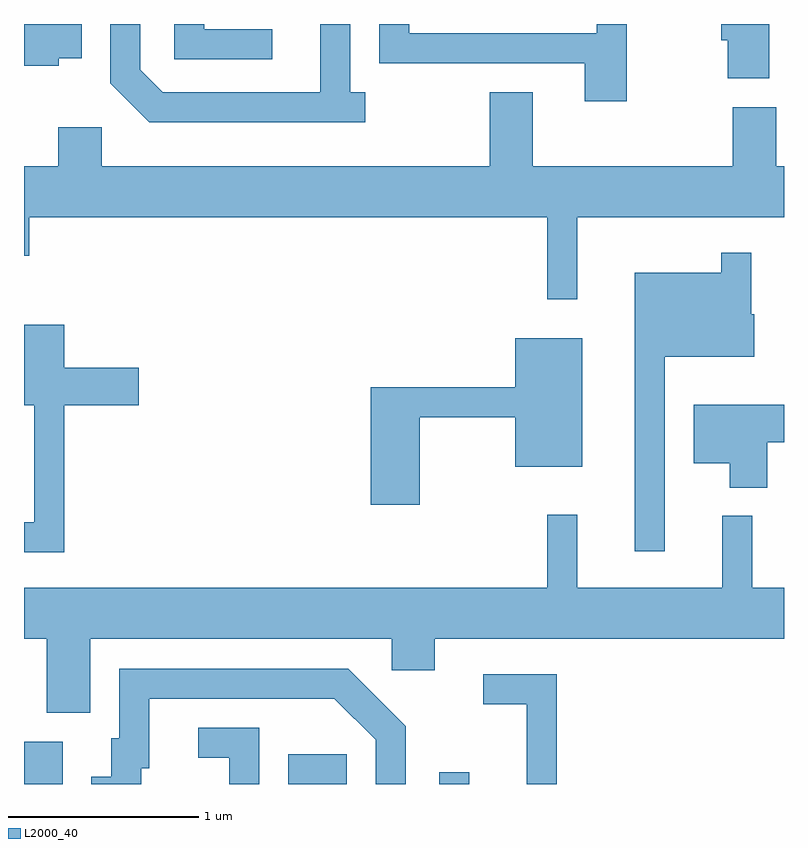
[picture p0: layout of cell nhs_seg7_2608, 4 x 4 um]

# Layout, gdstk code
import gdstk
lib = gdstk.Library(unit=1e-6, precision=1e-09)
def R(c, l, rs):  # rectangles x0, y0, x1, y1
    for r in rs: c.add(gdstk.rectangle(r[:2], r[2:], *l))
def P(c, l, *ps):  # polygons
    for p in ps: c.add(gdstk.Polygon(p, *l))
L2000_40 = (2000, 40)

nhs_seg7_2608 = lib.new_cell('nhs_seg7_2608')
R(nhs_seg7_2608, L2000_40, [(265.611,1680.252,265.814,1680.474), (267.001,1680.252,267.309,1680.409), (267.796,1680.252,267.954,1680.313)])
P(nhs_seg7_2608, L2000_40, [(265.794,1684.071),(265.914,1684.071),(265.914,1684.252),(265.611,1684.252),(265.611,1684.031),(265.794,1684.031)],
  [(269.534,1684.252),(269.281,1684.252),(269.281,1684.166),(269.316,1684.166),(269.316,1683.966),(269.534,1683.966)],
  [(268.784,1684.252),(268.626,1684.252),(268.626,1684.204),(267.639,1684.204),(267.639,1684.252),(267.481,1684.252),(267.481,1684.046),(268.561,1684.046),(268.561,1683.846),(268.784,1683.846)],
  [(267.408,1683.894),(267.329,1683.894),(267.329,1684.252),(267.171,1684.252),(267.171,1683.894),(266.342,1683.894),(266.224,1684.012),(266.224,1684.252),(266.066,1684.252),(266.066,1683.939),(266.269,1683.736),(267.408,1683.736)],
  [(266.918,1684.224),(266.559,1684.224),(266.559,1684.252),(266.401,1684.252),(266.401,1684.066),(266.918,1684.066)],
  [(268.524,1683.236),(269.611,1683.236),(269.611,1683.504),(269.569,1683.504),(269.569,1683.814),(269.341,1683.814),(269.341,1683.504),(268.289,1683.504),(268.289,1683.894),(268.061,1683.894),(268.061,1683.504),(266.019,1683.504),(266.019,1683.709),(265.791,1683.709),(265.791,1683.504),(265.611,1683.504),(265.611,1683.031),(265.639,1683.031),(265.639,1683.236),(268.366,1683.236),(268.366,1682.803),(268.524,1682.803)],
  [(268.984,1682.501),(269.454,1682.501),(269.454,1682.725),(269.439,1682.725),(269.439,1683.048),(269.281,1683.048),(269.281,1682.944),(268.826,1682.944),(268.826,1681.478),(268.984,1681.478)],
  [(265.824,1682.246),(266.214,1682.246),(266.214,1682.444),(265.824,1682.444),(265.824,1682.669),(265.611,1682.669),(265.611,1682.246),(265.666,1682.246),(265.666,1681.629),(265.611,1681.629),(265.611,1681.471),(265.824,1681.471)],
  [(267.694,1682.181),(268.196,1682.181),(268.196,1681.921),(268.549,1681.921),(268.549,1682.599),(268.196,1682.599),(268.196,1682.339),(267.436,1682.339),(267.436,1681.721),(267.694,1681.721)],
  [(269.524,1682.051),(269.611,1682.051),(269.611,1682.249),(269.136,1682.249),(269.136,1681.941),(269.326,1681.941),(269.326,1681.811),(269.524,1681.811)],
  [(265.959,1681.016),(267.546,1681.016),(267.546,1680.851),(267.774,1680.851),(267.774,1681.016),(269.611,1681.016),(269.611,1681.284),(269.444,1681.284),(269.444,1681.663),(269.286,1681.663),(269.286,1681.284),(268.524,1681.284),(268.524,1681.668),(268.366,1681.668),(268.366,1681.284),(265.611,1681.284),(265.611,1681.016),(265.731,1681.016),(265.731,1680.626),(265.959,1680.626)],
  [(266.229,1680.336),(266.269,1680.336),(266.269,1680.701),(267.244,1680.701),(267.461,1680.484),(267.461,1680.252),(267.619,1680.252),(267.619,1680.557),(267.317,1680.859),(266.111,1680.859),(266.111,1680.494),(266.071,1680.494),(266.071,1680.289),(265.966,1680.289),(265.966,1680.252),(266.229,1680.252)],
  [(268.414,1680.829),(268.028,1680.829),(268.028,1680.671),(268.256,1680.671),(268.256,1680.252),(268.414,1680.252)],
  [(266.849,1680.549),(266.528,1680.549),(266.528,1680.391),(266.691,1680.391),(266.691,1680.252),(266.849,1680.252)])

lib.write_gds('nhs_seg7_2608.gds')
